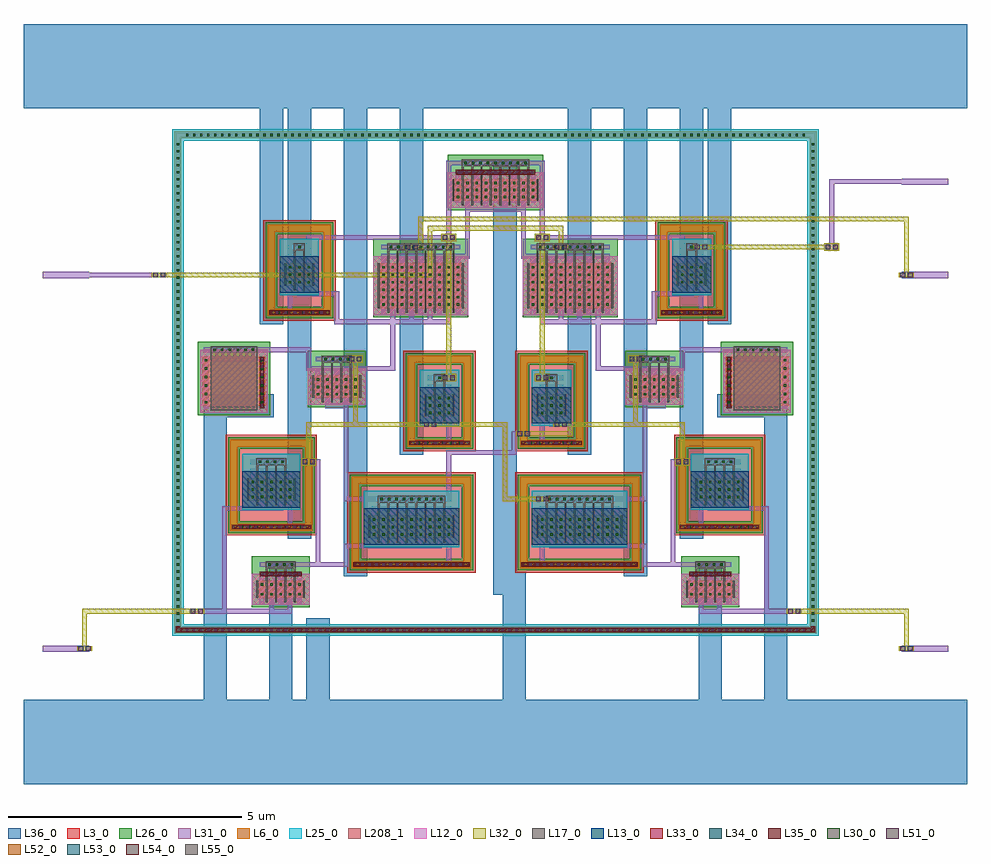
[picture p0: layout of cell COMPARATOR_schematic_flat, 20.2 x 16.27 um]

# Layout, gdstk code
import gdstk
lib = gdstk.Library(unit=1e-6, precision=1e-09)
def R(c, l, rs):  # rectangles x0, y0, x1, y1
    for r in rs: c.add(gdstk.rectangle(r[:2], r[2:], *l))
def A(c, l, x, y, w, h, nx, ny, dx, dy):  # array of equal rectangles
    R(c, l, [(x+i*dx, y+j*dy, x+i*dx+w, y+j*dy+h) for i in range(nx) for j in range(ny)])
L3_0 = (3, 0)
L6_0 = (6, 0)
L12_0 = (12, 0)
L13_0 = (13, 0)
L17_0 = (17, 0)
L25_0 = (25, 0)
L26_0 = (26, 0)
L30_0 = (30, 0)
L31_0 = (31, 0)
L32_0 = (32, 0)
L33_0 = (33, 0)
L34_0 = (34, 0)
L35_0 = (35, 0)
L36_0 = (36, 0)
L51_0 = (51, 0)
L52_0 = (52, 0)
L53_0 = (53, 0)
L54_0 = (54, 0)
L55_0 = (55, 0)
L208_1 = (208, 1)

comparator_schematic_fla = lib.new_cell('COMPARATOR_schematic_flat')
R(comparator_schematic_fla, L3_0, [(6.025,1.625,8.775,3.775), (9.625,1.625,12.375,3.775), (6.38,2.22,8.42,3), (9.98,2.22,12.02,3), (3.425,2.425,5.375,4.575), (13.025,2.425,14.975,4.575), (3.78,3.02,5.02,3.8), (13.38,3.02,14.62,3.8), (7.225,4.225,8.775,6.375), (9.625,4.225,11.175,6.375), (7.58,4.82,8.42,5.6), (9.98,4.82,10.82,5.6), (4.225,7.025,5.775,9.175), (12.625,7.025,14.175,9.175), (4.58,7.62,5.42,8.4), (12.98,7.62,13.82,8.4)])
A(comparator_schematic_fla, L6_0, 7.325, 4.325, 0.15, 0.15, 4, 2, 1.2, 1.8)
A(comparator_schematic_fla, L6_0, 7.325, 4.475, 0.15, 1.65, 4, 1, 1.2, 0)
R(comparator_schematic_fla, L6_0, [(2.325,0.325,2.475,0.475), (2.475,0.325,15.925,0.475), (15.925,0.325,16.075,0.475), (2.325,0.475,2.475,10.925), (15.925,0.475,16.075,10.925), (4.125,1.09,5.075,1.45), (13.325,1.09,14.275,1.45), (6.125,1.725,6.275,1.875), (6.275,1.725,8.525,1.875), (8.525,1.725,8.675,1.875), (9.725,1.725,9.875,1.875), (9.875,1.725,12.125,1.875), (12.125,1.725,12.275,1.875), (6.125,1.875,6.275,3.525), (8.525,1.875,8.675,3.525), (9.725,1.875,9.875,3.525), (12.125,1.875,12.275,3.525), (6.525,2.37,8.275,2.85), (10.125,2.37,11.875,2.85), (3.525,2.525,3.675,2.675), (3.675,2.525,5.125,2.675), (5.125,2.525,5.275,2.675), (13.125,2.525,13.275,2.675), (13.275,2.525,14.725,2.675), (14.725,2.525,14.875,2.675), (3.525,2.675,3.675,4.325), (5.125,2.675,5.275,4.325), (13.125,2.675,13.275,4.325), (14.725,2.675,14.875,4.325), (3.925,3.17,4.875,3.65), (13.525,3.17,14.475,3.65), (6.125,3.525,6.275,3.675), (6.275,3.525,8.525,3.675), (8.525,3.525,8.675,3.675), (9.725,3.525,9.875,3.675), (9.875,3.525,12.125,3.675), (12.125,3.525,12.275,3.675), (3.525,4.325,3.675,4.475), (3.675,4.325,5.125,4.475), (5.125,4.325,5.275,4.475), (7.475,4.325,8.525,4.475), (9.875,4.325,10.925,4.475), (13.125,4.325,13.275,4.475), (13.275,4.325,14.725,4.475), (14.725,4.325,14.875,4.475), (7.725,4.97,8.275,5.45), (10.125,4.97,10.675,5.45), (2.925,5.2,4.275,6.25), (14.125,5.2,15.475,6.25), (5.325,5.37,6.275,5.85), (12.125,5.37,13.075,5.85), (7.475,6.125,8.525,6.275), (9.875,6.125,10.925,6.275), (4.325,7.125,4.475,7.275), (4.475,7.125,5.525,7.275), (5.525,7.125,5.675,7.275), (12.725,7.125,12.875,7.275), (12.875,7.125,13.925,7.275), (13.925,7.125,14.075,7.275), (4.325,7.275,4.475,8.925), (5.525,7.275,5.675,8.925), (12.725,7.275,12.875,8.925), (13.925,7.275,14.075,8.925), (6.725,7.29,8.475,8.25), (9.925,7.29,11.675,8.25), (4.725,7.77,5.275,8.25), (13.125,7.77,13.675,8.25), (4.325,8.925,4.475,9.075), (4.475,8.925,5.525,9.075), (5.525,8.925,5.675,9.075), (12.725,8.925,12.875,9.075), (12.875,8.925,13.925,9.075), (13.925,8.925,14.075,9.075), (8.325,9.59,10.075,10.05), (2.325,10.925,2.475,11.075), (2.475,10.925,15.925,11.075), (15.925,10.925,16.075,11.075)])
R(comparator_schematic_fla, L12_0, [(3.98,0.94,5.22,1.6), (13.18,0.94,14.42,1.6), (2.875,5.05,4.325,6.4), (14.075,5.05,15.525,6.4), (5.18,5.22,6.42,6), (11.98,5.22,13.22,6), (6.58,7.14,8.62,8.4), (9.78,7.14,11.82,8.4), (8.18,9.44,10.22,10.2)])
R(comparator_schematic_fla, L13_0, [(6.38,2.22,8.42,3), (9.98,2.22,12.02,3), (3.78,3.02,5.02,3.8), (13.38,3.02,14.62,3.8), (7.58,4.82,8.42,5.6), (9.98,4.82,10.82,5.6), (4.58,7.62,5.42,8.4), (12.98,7.62,13.82,8.4)])
A(comparator_schematic_fla, L17_0, 4.28, 0.99, 0.04, 0.56, 4, 1, 0.2, 0)
A(comparator_schematic_fla, L17_0, 13.48, 0.99, 0.04, 0.56, 4, 1, 0.2, 0)
A(comparator_schematic_fla, L17_0, 4.28, 1.45, 0.04, 0.3, 4, 1, 0.2, 0)
A(comparator_schematic_fla, L17_0, 13.48, 1.45, 0.04, 0.3, 4, 1, 0.2, 0)
A(comparator_schematic_fla, L17_0, 6.68, 2.27, 0.04, 0.68, 8, 1, 0.2, 0)
A(comparator_schematic_fla, L17_0, 10.28, 2.27, 0.04, 0.68, 8, 1, 0.2, 0)
A(comparator_schematic_fla, L17_0, 6.48, 2.37, 0.04, 0.48, 4, 1, 1.8, 0)
A(comparator_schematic_fla, L17_0, 6.68, 2.85, 0.04, 0.3, 8, 1, 0.2, 0)
A(comparator_schematic_fla, L17_0, 10.28, 2.85, 0.04, 0.3, 8, 1, 0.2, 0)
A(comparator_schematic_fla, L17_0, 4.08, 3.07, 0.04, 0.68, 4, 1, 0.2, 0)
A(comparator_schematic_fla, L17_0, 13.68, 3.07, 0.04, 0.68, 4, 1, 0.2, 0)
A(comparator_schematic_fla, L17_0, 4.08, 3.65, 0.04, 0.3, 4, 1, 0.2, 0)
A(comparator_schematic_fla, L17_0, 13.68, 3.65, 0.04, 0.3, 4, 1, 0.2, 0)
A(comparator_schematic_fla, L17_0, 5.48, 5.27, 0.04, 0.68, 4, 1, 0.2, 0)
A(comparator_schematic_fla, L17_0, 12.28, 5.27, 0.04, 0.68, 4, 1, 0.2, 0)
A(comparator_schematic_fla, L17_0, 5.48, 5.85, 0.04, 0.3, 4, 1, 0.2, 0)
A(comparator_schematic_fla, L17_0, 12.28, 5.85, 0.04, 0.3, 4, 1, 0.2, 0)
A(comparator_schematic_fla, L17_0, 6.88, 7.19, 0.04, 1.16, 8, 1, 0.2, 0)
A(comparator_schematic_fla, L17_0, 10.08, 7.19, 0.04, 1.16, 8, 1, 0.2, 0)
A(comparator_schematic_fla, L17_0, 6.88, 8.25, 0.04, 0.3, 8, 1, 0.2, 0)
A(comparator_schematic_fla, L17_0, 10.08, 8.25, 0.04, 0.3, 8, 1, 0.2, 0)
A(comparator_schematic_fla, L17_0, 8.48, 9.49, 0.04, 0.66, 8, 1, 0.2, 0)
A(comparator_schematic_fla, L17_0, 8.48, 10.05, 0.04, 0.3, 8, 1, 0.2, 0)
R(comparator_schematic_fla, L17_0, [(4.08,1.09,4.12,1.45), (5.08,1.09,5.12,1.45), (13.28,1.09,13.32,1.45), (14.28,1.09,14.32,1.45), (4.28,1.725,4.92,1.875), (13.48,1.725,14.12,1.875), (6.68,3.125,8.12,3.275), (10.28,3.125,11.72,3.275), (3.88,3.17,3.92,3.65), (4.88,3.17,4.92,3.65), (13.48,3.17,13.52,3.65), (14.48,3.17,14.52,3.65), (4.08,3.925,4.72,4.075), (13.68,3.925,14.32,4.075), (7.88,4.87,7.92,5.55), (8.08,4.87,8.12,5.55), (10.28,4.87,10.32,5.55), (10.48,4.87,10.52,5.55), (7.68,4.97,7.72,5.45), (8.28,4.97,8.32,5.45), (10.08,4.97,10.12,5.45), (10.68,4.97,10.72,5.45), (3.1,5.1,4.1,6.35), (14.3,5.1,15.3,6.35), (5.28,5.37,5.32,5.85), (6.28,5.37,6.32,5.85), (12.08,5.37,12.12,5.85), (13.08,5.37,13.12,5.85), (7.88,5.45,7.92,5.75), (8.08,5.45,8.12,5.75), (10.28,5.45,10.32,5.75), (10.48,5.45,10.52,5.75), (7.88,5.725,8.12,5.875), (10.28,5.725,10.52,5.875), (5.48,6.125,6.12,6.275), (12.28,6.125,12.92,6.275), (3.1,6.25,4.1,6.475), (14.3,6.25,15.3,6.475), (6.68,7.29,6.72,8.25), (8.48,7.29,8.52,8.25), (9.88,7.29,9.92,8.25), (11.68,7.29,11.72,8.25), (4.88,7.67,4.92,8.35), (5.08,7.67,5.12,8.35), (13.28,7.67,13.32,8.35), (13.48,7.67,13.52,8.35), (4.68,7.77,4.72,8.25), (5.28,7.77,5.32,8.25), (13.08,7.77,13.12,8.25), (13.68,7.77,13.72,8.25), (4.88,8.25,4.92,8.55), (5.08,8.25,5.12,8.55), (13.28,8.25,13.32,8.55), (13.48,8.25,13.52,8.55), (4.88,8.525,5.12,8.675), (6.88,8.525,8.32,8.675), (10.08,8.525,11.52,8.675), (13.28,8.525,13.52,8.675), (8.28,9.59,8.32,10.05), (10.08,9.59,10.12,10.05), (8.48,10.325,9.92,10.475)])
R(comparator_schematic_fla, L25_0, [(2.275,0.275,2.525,0.525), (2.475,0.275,15.925,0.525), (15.875,0.275,16.125,0.525), (2.275,0.475,2.525,10.925), (15.875,0.475,16.125,10.925), (6.38,2.17,8.42,3.375), (9.98,2.17,12.02,3.375), (3.78,2.97,5.02,4.175), (13.38,2.97,14.62,4.175), (7.58,4.77,8.42,5.975), (9.98,4.77,10.82,5.975), (4.58,7.57,5.42,8.775), (12.98,7.57,13.82,8.775), (2.275,10.875,2.525,11.125), (2.475,10.875,15.925,11.125), (15.875,10.875,16.125,11.125)])
A(comparator_schematic_fla, L26_0, 7.275, 4.275, 0.25, 0.25, 4, 2, 1.2, 1.8)
A(comparator_schematic_fla, L26_0, 7.275, 4.475, 0.25, 1.65, 4, 1, 1.2, 0)
R(comparator_schematic_fla, L26_0, [(3.98,0.89,5.22,1.975), (13.18,0.89,14.42,1.975), (6.075,1.675,6.325,1.925), (6.275,1.675,8.525,1.925), (8.475,1.675,8.725,1.925), (9.675,1.675,9.925,1.925), (9.875,1.675,12.125,1.925), (12.075,1.675,12.325,1.925), (6.075,1.875,6.325,3.525), (8.475,1.875,8.725,3.525), (9.675,1.875,9.925,3.525), (12.075,1.875,12.325,3.525), (3.475,2.475,3.725,2.725), (3.675,2.475,5.125,2.725), (5.075,2.475,5.325,2.725), (13.075,2.475,13.325,2.725), (13.275,2.475,14.725,2.725), (14.675,2.475,14.925,2.725), (3.475,2.675,3.725,4.325), (5.075,2.675,5.325,4.325), (13.075,2.675,13.325,4.325), (14.675,2.675,14.925,4.325), (6.075,3.475,6.325,3.725), (6.275,3.475,8.525,3.725), (8.475,3.475,8.725,3.725), (9.675,3.475,9.925,3.725), (9.875,3.475,12.125,3.725), (12.075,3.475,12.325,3.725), (3.475,4.275,3.725,4.525), (3.675,4.275,5.125,4.525), (5.075,4.275,5.325,4.525), (7.475,4.275,8.525,4.525), (9.875,4.275,10.925,4.525), (13.075,4.275,13.325,4.525), (13.275,4.275,14.725,4.525), (14.675,4.275,14.925,4.525), (2.825,5,4.375,6.575), (14.025,5,15.575,6.575), (5.18,5.17,6.42,6.375), (11.98,5.17,13.22,6.375), (7.475,6.075,8.525,6.325), (9.875,6.075,10.925,6.325), (4.275,7.075,4.525,7.325), (4.475,7.075,5.525,7.325), (5.475,7.075,5.725,7.325), (12.675,7.075,12.925,7.325), (12.875,7.075,13.925,7.325), (13.875,7.075,14.125,7.325), (6.58,7.09,8.62,8.775), (9.78,7.09,11.82,8.775), (4.275,7.275,4.525,8.925), (5.475,7.275,5.725,8.925), (12.675,7.275,12.925,8.925), (13.875,7.275,14.125,8.925), (4.275,8.875,4.525,9.125), (4.475,8.875,5.525,9.125), (5.475,8.875,5.725,9.125), (12.675,8.875,12.925,9.125), (12.875,8.875,13.925,9.125), (13.875,8.875,14.125,9.125), (8.18,9.39,10.22,10.575)])
A(comparator_schematic_fla, L30_0, 2.575, 0.375, 0.05, 0.05, 89, 2, 0.15, 10.6)
A(comparator_schematic_fla, L30_0, 2.375, 0.575, 0.05, 0.05, 1, 69, 0, 0.15)
A(comparator_schematic_fla, L30_0, 15.975, 0.575, 0.05, 0.05, 1, 69, 0, 0.15)
A(comparator_schematic_fla, L30_0, 4.175, 1.14, 0.05, 0.05, 5, 2, 0.2, 0.21)
A(comparator_schematic_fla, L30_0, 13.375, 1.14, 0.05, 0.05, 5, 2, 0.2, 0.21)
A(comparator_schematic_fla, L30_0, 4.335, 1.775, 0.05, 0.05, 4, 1, 0.16, 0)
A(comparator_schematic_fla, L30_0, 6.325, 1.775, 0.05, 0.05, 15, 1, 0.15, 0)
A(comparator_schematic_fla, L30_0, 9.925, 1.775, 0.05, 0.05, 15, 1, 0.15, 0)
A(comparator_schematic_fla, L30_0, 13.535, 1.775, 0.05, 0.05, 4, 1, 0.16, 0)
A(comparator_schematic_fla, L30_0, 6.575, 2.42, 0.05, 0.05, 9, 3, 0.2, 0.16)
A(comparator_schematic_fla, L30_0, 10.175, 2.42, 0.05, 0.05, 9, 3, 0.2, 0.16)
A(comparator_schematic_fla, L30_0, 3.735, 2.575, 0.05, 0.05, 9, 1, 0.16, 0)
A(comparator_schematic_fla, L30_0, 13.335, 2.575, 0.05, 0.05, 9, 1, 0.16, 0)
A(comparator_schematic_fla, L30_0, 6.735, 3.175, 0.05, 0.05, 9, 1, 0.16, 0)
A(comparator_schematic_fla, L30_0, 10.335, 3.175, 0.05, 0.05, 9, 1, 0.16, 0)
A(comparator_schematic_fla, L30_0, 3.975, 3.22, 0.05, 0.05, 5, 3, 0.2, 0.16)
A(comparator_schematic_fla, L30_0, 13.575, 3.22, 0.05, 0.05, 5, 3, 0.2, 0.16)
A(comparator_schematic_fla, L30_0, 4.135, 3.975, 0.05, 0.05, 4, 1, 0.16, 0)
A(comparator_schematic_fla, L30_0, 13.735, 3.975, 0.05, 0.05, 4, 1, 0.16, 0)
A(comparator_schematic_fla, L30_0, 7.525, 4.375, 0.05, 0.05, 6, 1, 0.18, 0)
A(comparator_schematic_fla, L30_0, 9.925, 4.375, 0.05, 0.05, 6, 1, 0.18, 0)
A(comparator_schematic_fla, L30_0, 7.775, 5.02, 0.05, 0.05, 3, 3, 0.2, 0.16)
A(comparator_schematic_fla, L30_0, 10.175, 5.02, 0.05, 0.05, 3, 3, 0.2, 0.16)
A(comparator_schematic_fla, L30_0, 2.975, 5.25, 0.05, 0.05, 1, 6, 0, 0.18)
A(comparator_schematic_fla, L30_0, 4.175, 5.25, 0.05, 0.05, 1, 6, 0, 0.18)
A(comparator_schematic_fla, L30_0, 14.175, 5.25, 0.05, 0.05, 1, 6, 0, 0.18)
A(comparator_schematic_fla, L30_0, 15.375, 5.25, 0.05, 0.05, 1, 6, 0, 0.18)
A(comparator_schematic_fla, L30_0, 5.375, 5.42, 0.05, 0.05, 5, 3, 0.2, 0.16)
A(comparator_schematic_fla, L30_0, 12.175, 5.42, 0.05, 0.05, 5, 3, 0.2, 0.16)
A(comparator_schematic_fla, L30_0, 5.535, 6.175, 0.05, 0.05, 4, 1, 0.16, 0)
A(comparator_schematic_fla, L30_0, 12.335, 6.175, 0.05, 0.05, 4, 1, 0.16, 0)
A(comparator_schematic_fla, L30_0, 3.16, 6.375, 0.05, 0.05, 6, 1, 0.165, 0)
A(comparator_schematic_fla, L30_0, 14.365, 6.375, 0.05, 0.05, 6, 1, 0.165, 0)
A(comparator_schematic_fla, L30_0, 4.525, 7.175, 0.05, 0.05, 6, 1, 0.18, 0)
A(comparator_schematic_fla, L30_0, 12.925, 7.175, 0.05, 0.05, 6, 1, 0.18, 0)
A(comparator_schematic_fla, L30_0, 6.775, 7.34, 0.05, 0.05, 9, 6, 0.2, 0.16)
A(comparator_schematic_fla, L30_0, 9.975, 7.34, 0.05, 0.05, 9, 6, 0.2, 0.16)
A(comparator_schematic_fla, L30_0, 4.775, 7.82, 0.05, 0.05, 3, 3, 0.2, 0.16)
A(comparator_schematic_fla, L30_0, 13.175, 7.82, 0.05, 0.05, 3, 3, 0.2, 0.16)
A(comparator_schematic_fla, L30_0, 6.935, 8.575, 0.05, 0.05, 9, 1, 0.16, 0)
A(comparator_schematic_fla, L30_0, 10.135, 8.575, 0.05, 0.05, 9, 1, 0.16, 0)
A(comparator_schematic_fla, L30_0, 8.375, 9.645, 0.05, 0.05, 9, 3, 0.2, 0.15)
A(comparator_schematic_fla, L30_0, 8.535, 10.375, 0.05, 0.05, 9, 1, 0.16, 0)
R(comparator_schematic_fla, L30_0, [(7.975,5.775,8.025,5.825), (10.375,5.775,10.425,5.825), (4.975,8.575,5.025,8.625), (13.375,8.575,13.425,8.625)])
A(comparator_schematic_fla, L31_0, 4.15, 0.95, 0.1, 0.5, 5, 1, 0.2, 0)
A(comparator_schematic_fla, L31_0, 13.35, 0.95, 0.1, 0.5, 5, 1, 0.2, 0)
A(comparator_schematic_fla, L31_0, 4.15, 1.09, 0.1, 0.36, 5, 1, 0.2, 0)
A(comparator_schematic_fla, L31_0, 13.35, 1.09, 0.1, 0.36, 5, 1, 0.2, 0)
A(comparator_schematic_fla, L31_0, 4.15, 1.45, 0.1, 0.1, 3, 1, 0.4, 0)
A(comparator_schematic_fla, L31_0, 13.35, 1.45, 0.1, 0.1, 3, 1, 0.4, 0)
A(comparator_schematic_fla, L31_0, 6.75, 2.25, 0.1, 0.1, 4, 1, 0.4, 0)
A(comparator_schematic_fla, L31_0, 10.35, 2.25, 0.1, 0.1, 4, 1, 0.4, 0)
A(comparator_schematic_fla, L31_0, 6.55, 2.35, 0.1, 0.5, 9, 1, 0.2, 0)
A(comparator_schematic_fla, L31_0, 10.15, 2.35, 0.1, 0.5, 9, 1, 0.2, 0)
A(comparator_schematic_fla, L31_0, 6.55, 2.37, 0.1, 0.48, 9, 1, 0.2, 0)
A(comparator_schematic_fla, L31_0, 10.15, 2.37, 0.1, 0.48, 9, 1, 0.2, 0)
A(comparator_schematic_fla, L31_0, 6.55, 2.85, 0.1, 0.1, 5, 1, 0.4, 0)
A(comparator_schematic_fla, L31_0, 10.15, 2.85, 0.1, 0.1, 5, 1, 0.4, 0)
A(comparator_schematic_fla, L31_0, 3.95, 3.15, 0.1, 0.5, 5, 1, 0.2, 0)
A(comparator_schematic_fla, L31_0, 13.55, 3.15, 0.1, 0.5, 5, 1, 0.2, 0)
A(comparator_schematic_fla, L31_0, 3.95, 3.17, 0.1, 0.48, 5, 1, 0.2, 0)
A(comparator_schematic_fla, L31_0, 13.55, 3.17, 0.1, 0.48, 5, 1, 0.2, 0)
A(comparator_schematic_fla, L31_0, 3.95, 3.65, 0.1, 0.1, 3, 1, 0.4, 0)
A(comparator_schematic_fla, L31_0, 13.55, 3.65, 0.1, 0.1, 3, 1, 0.4, 0)
A(comparator_schematic_fla, L31_0, 7.35, 4.35, 0.1, 0.1, 4, 1, 1.2, 0)
A(comparator_schematic_fla, L31_0, 7.75, 4.95, 0.1, 0.5, 3, 1, 0.2, 0)
A(comparator_schematic_fla, L31_0, 10.15, 4.95, 0.1, 0.5, 3, 1, 0.2, 0)
A(comparator_schematic_fla, L31_0, 7.75, 4.97, 0.1, 0.48, 3, 1, 0.2, 0)
A(comparator_schematic_fla, L31_0, 10.15, 4.97, 0.1, 0.48, 3, 1, 0.2, 0)
A(comparator_schematic_fla, L31_0, 5.35, 5.35, 0.1, 0.5, 5, 1, 0.2, 0)
A(comparator_schematic_fla, L31_0, 12.15, 5.35, 0.1, 0.5, 5, 1, 0.2, 0)
A(comparator_schematic_fla, L31_0, 5.35, 5.37, 0.1, 0.48, 5, 1, 0.2, 0)
A(comparator_schematic_fla, L31_0, 12.15, 5.37, 0.1, 0.48, 5, 1, 0.2, 0)
A(comparator_schematic_fla, L31_0, 5.35, 5.85, 0.1, 0.1, 3, 1, 0.4, 0)
A(comparator_schematic_fla, L31_0, 12.15, 5.85, 0.1, 0.1, 3, 1, 0.4, 0)
A(comparator_schematic_fla, L31_0, 6.95, 7.05, 0.1, 0.1, 4, 1, 0.4, 0)
A(comparator_schematic_fla, L31_0, 10.15, 7.05, 0.1, 0.1, 4, 1, 0.4, 0)
A(comparator_schematic_fla, L31_0, 6.75, 7.15, 0.1, 1.1, 9, 1, 0.2, 0)
A(comparator_schematic_fla, L31_0, 9.95, 7.15, 0.1, 1.1, 9, 1, 0.2, 0)
A(comparator_schematic_fla, L31_0, 6.75, 7.29, 0.1, 0.96, 9, 1, 0.2, 0)
A(comparator_schematic_fla, L31_0, 9.95, 7.29, 0.1, 0.96, 9, 1, 0.2, 0)
A(comparator_schematic_fla, L31_0, 4.75, 7.75, 0.1, 0.5, 3, 1, 0.2, 0)
A(comparator_schematic_fla, L31_0, 13.15, 7.75, 0.1, 0.5, 3, 1, 0.2, 0)
A(comparator_schematic_fla, L31_0, 4.75, 7.77, 0.1, 0.48, 3, 1, 0.2, 0)
A(comparator_schematic_fla, L31_0, 13.15, 7.77, 0.1, 0.48, 3, 1, 0.2, 0)
A(comparator_schematic_fla, L31_0, 6.75, 8.25, 0.1, 0.1, 5, 1, 0.4, 0)
A(comparator_schematic_fla, L31_0, 9.95, 8.25, 0.1, 0.1, 5, 1, 0.4, 0)
A(comparator_schematic_fla, L31_0, 8.55, 9.45, 0.1, 0.1, 4, 1, 0.4, 0)
A(comparator_schematic_fla, L31_0, 8.35, 9.55, 0.1, 0.5, 9, 1, 0.2, 0)
A(comparator_schematic_fla, L31_0, 8.35, 9.59, 0.1, 0.46, 9, 1, 0.2, 0)
A(comparator_schematic_fla, L31_0, 8.35, 10.05, 0.1, 0.1, 5, 1, 0.4, 0)
R(comparator_schematic_fla, L31_0, [(-0.5,-0.065,0.5,0.065), (17.9,-0.065,18.9,0.065), (0.24,-0.05,0.56,0.05), (17.84,-0.05,18.16,0.05), (2.35,0.35,2.45,0.45), (2.45,0.35,2.475,0.45), (2.475,0.35,15.925,0.45), (15.925,0.35,15.95,0.45), (15.95,0.35,16.05,0.45), (2.35,0.45,2.45,0.475), (15.95,0.45,16.05,0.475), (2.35,0.475,2.45,10.925), (15.95,0.475,16.05,10.925), (2.64,0.75,2.96,0.85), (2.75,0.75,3.45,0.85), (3.35,0.75,4.45,0.85), (3.35,0.75,3.45,3.05), (4.35,0.75,4.85,0.85), (13.55,0.75,14.05,0.85), (13.95,0.75,15.05,0.85), (14.95,0.75,15.05,3.05), (14.95,0.75,15.65,0.85), (15.44,0.75,15.76,0.85), (4.35,0.85,4.45,0.95), (4.75,0.85,4.85,0.95), (13.55,0.85,13.65,0.95), (13.95,0.85,14.05,0.95), (4.15,1.55,5.05,1.65), (13.35,1.55,14.25,1.65), (4.15,1.75,5.05,1.85), (4.28,1.75,4.92,1.85), (4.95,1.75,6.05,1.85), (5.35,1.75,5.45,4.05), (5.95,1.75,6.05,2.25), (6.15,1.75,6.25,1.85), (6.25,1.75,6.275,1.85), (6.275,1.75,8.525,1.85), (8.15,1.75,8.25,2.95), (8.525,1.75,8.55,1.85), (8.55,1.75,8.65,1.85), (9.75,1.75,9.85,1.85), (9.85,1.75,9.875,1.85), (9.875,1.75,12.125,1.85), (10.15,1.75,10.25,2.95), (12.125,1.75,12.15,1.85), (12.15,1.75,12.25,1.85), (12.35,1.75,12.45,2.25), (12.35,1.75,13.45,1.85), (12.95,1.75,13.05,4.05), (13.35,1.75,14.25,1.85), (13.48,1.75,14.12,1.85), (5.95,2.15,6.85,2.25), (6.75,2.15,8.05,2.25), (10.35,2.15,11.65,2.25), (11.55,2.15,12.45,2.25), (3.55,2.55,3.65,2.65), (3.65,2.55,3.675,2.65), (3.675,2.55,5.125,2.65), (4.75,2.55,4.85,3.75), (5.125,2.55,5.15,2.65), (5.15,2.55,5.25,2.65), (13.15,2.55,13.25,2.65), (13.25,2.55,13.275,2.65), (13.275,2.55,14.725,2.65), (13.55,2.55,13.65,3.75), (14.725,2.55,14.75,2.65), (14.75,2.55,14.85,2.65), (3.35,2.95,4.25,3.05), (4.15,2.95,4.65,3.05), (6.55,2.95,8.25,3.05), (10.15,2.95,11.85,3.05), (13.75,2.95,14.25,3.05), (14.15,2.95,15.05,3.05), (4.15,3.05,4.25,3.15), (4.55,3.05,4.65,3.15), (13.75,3.05,13.85,3.15), (14.15,3.05,14.25,3.15), (5.95,3.15,6.65,3.25), (5.95,3.15,6.05,5.25), (6.55,3.15,8.25,3.25), (6.68,3.15,8.12,3.25), (8.15,3.15,8.25,4.25), (10.04,3.15,10.36,3.25), (10.15,3.15,11.85,3.25), (10.28,3.15,11.72,3.25), (11.75,3.15,12.45,3.25), (12.35,3.15,12.45,5.25), (3.95,3.75,4.85,3.85), (13.55,3.75,14.45,3.85), (5.04,3.92,5.36,4.08), (13.04,3.92,13.36,4.08), (3.95,3.95,4.85,4.05), (4.08,3.95,4.72,4.05), (4.75,3.95,5.45,4.05), (12.95,3.95,13.65,4.05), (13.55,3.95,14.45,4.05), (13.68,3.95,14.32,4.05), (8.15,4.15,9.65,4.25), (9.55,4.15,9.65,4.65), (7.45,4.35,7.475,4.45), (7.475,4.35,8.525,4.45), (8.15,4.35,8.25,5.55), (8.525,4.35,8.55,4.45), (9.85,4.35,9.875,4.45), (9.875,4.35,10.925,4.45), (10.15,4.35,10.25,5.55), (10.925,4.35,10.95,4.45), (9.55,4.55,9.85,4.65), (9.64,4.55,9.96,4.65), (7.64,4.75,7.96,4.85), (7.75,4.75,8.05,4.85), (7.95,4.75,8.05,5.05), (10.35,4.75,10.65,4.85), (10.35,4.75,10.45,5.05), (10.44,4.75,10.76,4.85), (2.95,5.15,3.05,6.25), (4.15,5.15,4.25,6.25), (5.55,5.15,6.05,5.25), (12.35,5.15,12.85,5.25), (14.15,5.15,14.25,6.25), (15.35,5.15,15.45,6.25), (2.95,5.2,3.05,6.25), (4.15,5.2,4.25,6.25), (14.15,5.2,14.25,6.25), (15.35,5.2,15.45,6.25), (5.55,5.25,5.65,5.35), (5.95,5.25,6.05,5.35), (12.35,5.25,12.45,5.35), (12.75,5.25,12.85,5.35), (7.75,5.45,7.85,5.55), (8.15,5.45,8.25,5.55), (10.15,5.45,10.25,5.55), (10.55,5.45,10.65,5.55), (7.75,5.55,8.25,5.65), (10.15,5.55,10.65,5.65), (8.04,5.72,8.36,5.88), (10.04,5.72,10.36,5.88), (7.75,5.75,8.25,5.85), (7.88,5.75,8.12,5.85), (10.15,5.75,10.65,5.85), (10.28,5.75,10.52,5.85), (5.15,5.95,5.25,6.45), (5.15,5.95,5.45,6.05), (5.35,5.95,6.25,6.05), (6.15,5.95,7.05,6.05), (6.95,5.95,7.05,7.05), (11.35,5.95,11.45,7.05), (11.35,5.95,12.25,6.05), (12.15,5.95,13.05,6.05), (12.95,5.95,13.25,6.05), (13.15,5.95,13.25,6.45), (6.04,6.12,6.36,6.28), (12.04,6.12,12.36,6.28), (2.95,6.15,4.25,6.25), (5.35,6.15,6.25,6.25), (5.48,6.15,6.12,6.25), (12.15,6.15,13.05,6.25), (12.28,6.15,12.92,6.25), (14.15,6.15,15.45,6.25), (2.95,6.35,4.25,6.45), (3.1,6.35,4.1,6.45), (4.15,6.35,5.25,6.45), (13.15,6.35,14.25,6.45), (14.15,6.35,15.45,6.45), (14.3,6.35,15.3,6.45), (5.75,6.95,7.05,7.05), (5.75,6.95,5.85,7.65), (6.95,6.95,8.25,7.05), (10.15,6.95,11.45,7.05), (11.35,6.95,12.65,7.05), (12.55,6.95,12.65,7.65), (4.35,7.15,4.45,7.25), (4.45,7.15,4.475,7.25), (4.475,7.15,5.525,7.25), (4.75,7.15,4.85,8.35), (5.525,7.15,5.55,7.25), (5.55,7.15,5.65,7.25), (12.75,7.15,12.85,7.25), (12.85,7.15,12.875,7.25), (12.875,7.15,13.925,7.25), (13.55,7.15,13.65,8.35), (13.925,7.15,13.95,7.25), (13.95,7.15,14.05,7.25), (4.95,7.55,5.85,7.65), (4.95,7.55,5.05,7.85), (12.55,7.55,13.45,7.65), (13.35,7.55,13.45,7.85), (-0.5,7.935,0.5,8.065), (17.9,7.935,18.9,8.065), (0.35,7.95,2.05,8.05), (1.84,7.95,2.16,8.05), (17.84,7.95,18.16,8.05), (4.75,8.25,4.85,8.35), (5.15,8.25,5.25,8.35), (13.15,8.25,13.25,8.35), (13.55,8.25,13.65,8.35), (4.75,8.35,5.25,8.45), (6.75,8.35,8.45,8.45), (8.35,8.35,8.65,8.45), (8.55,8.35,8.65,9.45), (9.75,8.35,9.85,9.45), (9.75,8.35,10.05,8.45), (9.95,8.35,11.65,8.45), (13.15,8.35,13.65,8.45), (16.24,8.52,16.56,8.68), (4.75,8.55,5.25,8.65), (4.88,8.55,5.12,8.65), (5.15,8.55,5.25,8.85), (6.75,8.55,8.45,8.65), (6.88,8.55,8.32,8.65), (7.24,8.55,7.56,8.65), (9.95,8.55,11.65,8.65), (10.08,8.55,11.52,8.65), (10.44,8.55,10.76,8.65), (13.15,8.55,13.65,8.65), (13.15,8.55,13.25,8.85), (13.28,8.55,13.52,8.65), (13.44,8.55,13.76,8.65), (16.35,8.55,16.45,10.05), (8.04,8.72,8.36,8.88), (10.04,8.72,10.36,8.88), (5.15,8.75,8.25,8.85), (8.15,8.75,8.25,10.45), (10.15,8.75,10.25,10.45), (10.15,8.75,13.25,8.85), (8.55,9.35,9.85,9.45), (17.9,9.935,18.9,10.065), (16.35,9.95,18.05,10.05), (8.35,10.15,10.05,10.25), (8.15,10.35,8.45,10.45), (8.35,10.35,10.05,10.45), (8.48,10.35,9.92,10.45), (9.95,10.35,10.25,10.45), (2.35,10.925,2.45,10.95), (15.95,10.925,16.05,10.95), (2.35,10.95,2.45,11.05), (2.45,10.95,2.475,11.05), (2.475,10.95,15.925,11.05), (15.925,10.95,15.95,11.05), (15.95,10.95,16.05,11.05)])
A(comparator_schematic_fla, L32_0, 7.35, 4.35, 0.1, 0.1, 4, 1, 1.2, 0)
R(comparator_schematic_fla, L32_0, [(0.24,-0.05,0.56,0.05), (0.35,-0.05,0.45,0.85), (17.84,-0.05,18.16,0.05), (17.95,-0.05,18.05,0.85), (2.35,0.35,2.45,0.45), (2.45,0.35,2.475,0.45), (2.475,0.35,15.925,0.45), (15.925,0.35,15.95,0.45), (15.95,0.35,16.05,0.45), (2.35,0.45,2.45,0.475), (15.95,0.45,16.05,0.475), (0.35,0.75,2.85,0.85), (2.64,0.75,2.96,0.85), (15.44,0.75,15.76,0.85), (15.55,0.75,18.05,0.85), (4.15,1.55,5.05,1.65), (13.35,1.55,14.25,1.65), (6.15,1.75,6.25,1.85), (6.25,1.75,6.275,1.85), (6.275,1.75,8.525,1.85), (8.525,1.75,8.55,1.85), (8.55,1.75,8.65,1.85), (9.75,1.75,9.85,1.85), (9.85,1.75,9.875,1.85), (9.875,1.75,12.125,1.85), (12.125,1.75,12.15,1.85), (12.15,1.75,12.25,1.85), (3.55,2.55,3.65,2.65), (3.65,2.55,3.675,2.65), (3.675,2.55,5.125,2.65), (5.125,2.55,5.15,2.65), (5.15,2.55,5.25,2.65), (13.15,2.55,13.25,2.65), (13.25,2.55,13.275,2.65), (13.275,2.55,14.725,2.65), (14.725,2.55,14.75,2.65), (14.75,2.55,14.85,2.65), (9.35,3.15,10.25,3.25), (9.35,3.15,9.45,4.85), (10.04,3.15,10.36,3.25), (5.04,3.92,5.36,4.08), (13.04,3.92,13.36,4.08), (5.15,3.95,5.25,4.85), (13.15,3.95,13.25,4.85), (7.45,4.35,7.475,4.45), (7.475,4.35,8.525,4.45), (8.525,4.35,8.55,4.45), (9.85,4.35,9.875,4.45), (9.875,4.35,10.925,4.45), (10.925,4.35,10.95,4.45), (9.64,4.55,9.96,4.65), (9.75,4.55,10.85,4.65), (10.75,4.55,10.85,4.85), (5.15,4.75,6.25,4.85), (6.15,4.75,7.85,4.85), (6.15,4.75,6.25,6.25), (7.64,4.75,7.96,4.85), (7.75,4.75,9.45,4.85), (10.44,4.75,10.76,4.85), (10.55,4.75,12.25,4.85), (12.15,4.75,12.25,6.25), (12.15,4.75,13.25,4.85), (4.15,5.15,4.25,6.25), (14.15,5.15,14.25,6.25), (8.04,5.72,8.36,5.88), (10.04,5.72,10.36,5.88), (8.15,5.75,8.25,8.85), (10.15,5.75,10.25,8.85), (6.04,6.12,6.36,6.28), (12.04,6.12,12.36,6.28), (4.35,7.15,4.45,7.25), (4.45,7.15,4.475,7.25), (4.475,7.15,5.525,7.25), (5.525,7.15,5.55,7.25), (5.55,7.15,5.65,7.25), (12.75,7.15,12.85,7.25), (12.85,7.15,12.875,7.25), (12.875,7.15,13.925,7.25), (13.925,7.15,13.95,7.25), (13.95,7.15,14.05,7.25), (1.84,7.95,2.16,8.05), (1.95,7.95,7.85,8.05), (7.75,7.95,7.85,9.05), (17.84,7.95,18.16,8.05), (17.95,7.95,18.05,9.25), (16.24,8.52,16.56,8.68), (7.24,8.55,7.56,8.65), (7.35,8.55,7.65,8.65), (7.55,8.55,7.65,9.25), (10.44,8.55,10.76,8.65), (10.55,8.55,10.65,9.05), (13.44,8.55,13.76,8.65), (13.55,8.55,16.45,8.65), (8.04,8.72,8.36,8.88), (10.04,8.72,10.36,8.88), (7.75,8.95,10.65,9.05), (7.55,9.15,18.05,9.25), (8.35,10.15,10.05,10.25)])
A(comparator_schematic_fla, L33_0, 7.35, 4.35, 0.1, 0.1, 4, 1, 1.2, 0)
R(comparator_schematic_fla, L33_0, [(2.35,0.35,2.45,0.45), (2.45,0.35,2.475,0.45), (2.475,0.35,15.925,0.45), (15.925,0.35,15.95,0.45), (15.95,0.35,16.05,0.45), (2.35,0.45,2.45,0.475), (15.95,0.45,16.05,0.475), (4.15,1.55,5.05,1.65), (13.35,1.55,14.25,1.65), (6.15,1.75,6.25,1.85), (6.25,1.75,6.275,1.85), (6.275,1.75,8.525,1.85), (8.525,1.75,8.55,1.85), (8.55,1.75,8.65,1.85), (9.75,1.75,9.85,1.85), (9.85,1.75,9.875,1.85), (9.875,1.75,12.125,1.85), (12.125,1.75,12.15,1.85), (12.15,1.75,12.25,1.85), (3.55,2.55,3.65,2.65), (3.65,2.55,3.675,2.65), (3.675,2.55,5.125,2.65), (5.125,2.55,5.15,2.65), (5.15,2.55,5.25,2.65), (13.15,2.55,13.25,2.65), (13.25,2.55,13.275,2.65), (13.275,2.55,14.725,2.65), (14.725,2.55,14.75,2.65), (14.75,2.55,14.85,2.65), (7.45,4.35,7.475,4.45), (7.475,4.35,8.525,4.45), (8.525,4.35,8.55,4.45), (9.85,4.35,9.875,4.45), (9.875,4.35,10.925,4.45), (10.925,4.35,10.95,4.45), (4.15,5.15,4.25,6.25), (14.15,5.15,14.25,6.25), (4.35,7.15,4.45,7.25), (4.45,7.15,4.475,7.25), (4.475,7.15,5.525,7.25), (5.525,7.15,5.55,7.25), (5.55,7.15,5.65,7.25), (12.75,7.15,12.85,7.25), (12.85,7.15,12.875,7.25), (12.875,7.15,13.925,7.25), (13.925,7.15,13.95,7.25), (13.95,7.15,14.05,7.25), (8.35,10.15,10.05,10.25)])
A(comparator_schematic_fla, L34_0, 7.35, 4.35, 0.1, 0.1, 4, 1, 1.2, 0)
R(comparator_schematic_fla, L34_0, [(2.35,0.35,2.45,0.45), (2.45,0.35,2.475,0.45), (2.475,0.35,15.925,0.45), (15.925,0.35,15.95,0.45), (15.95,0.35,16.05,0.45), (2.35,0.45,2.45,0.475), (15.95,0.45,16.05,0.475), (4.15,1.55,5.05,1.65), (13.35,1.55,14.25,1.65), (6.15,1.75,6.25,1.85), (6.25,1.75,6.275,1.85), (6.275,1.75,8.525,1.85), (8.525,1.75,8.55,1.85), (8.55,1.75,8.65,1.85), (9.75,1.75,9.85,1.85), (9.85,1.75,9.875,1.85), (9.875,1.75,12.125,1.85), (12.125,1.75,12.15,1.85), (12.15,1.75,12.25,1.85), (3.55,2.55,3.65,2.65), (3.65,2.55,3.675,2.65), (3.675,2.55,5.125,2.65), (5.125,2.55,5.15,2.65), (5.15,2.55,5.25,2.65), (13.15,2.55,13.25,2.65), (13.25,2.55,13.275,2.65), (13.275,2.55,14.725,2.65), (14.725,2.55,14.75,2.65), (14.75,2.55,14.85,2.65), (7.45,4.35,7.475,4.45), (7.475,4.35,8.525,4.45), (8.525,4.35,8.55,4.45), (9.85,4.35,9.875,4.45), (9.875,4.35,10.925,4.45), (10.925,4.35,10.95,4.45), (4.15,5.15,4.25,6.25), (14.15,5.15,14.25,6.25), (4.35,7.15,4.45,7.25), (4.45,7.15,4.475,7.25), (4.475,7.15,5.525,7.25), (5.525,7.15,5.55,7.25), (5.55,7.15,5.65,7.25), (12.75,7.15,12.85,7.25), (12.85,7.15,12.875,7.25), (12.875,7.15,13.925,7.25), (13.925,7.15,13.95,7.25), (13.95,7.15,14.05,7.25), (8.35,10.15,10.05,10.25)])
A(comparator_schematic_fla, L35_0, 7.35, 4.35, 0.1, 0.1, 4, 1, 1.2, 0)
R(comparator_schematic_fla, L35_0, [(2.35,0.35,2.45,0.45), (2.45,0.35,2.475,0.45), (2.475,0.35,15.925,0.45), (15.925,0.35,15.95,0.45), (15.95,0.35,16.05,0.45), (2.35,0.45,2.45,0.475), (15.95,0.45,16.05,0.475), (4.15,1.55,5.05,1.65), (13.35,1.55,14.25,1.65), (6.15,1.75,6.25,1.85), (6.25,1.75,6.275,1.85), (6.275,1.75,8.525,1.85), (8.525,1.75,8.55,1.85), (8.55,1.75,8.65,1.85), (9.75,1.75,9.85,1.85), (9.85,1.75,9.875,1.85), (9.875,1.75,12.125,1.85), (12.125,1.75,12.15,1.85), (12.15,1.75,12.25,1.85), (3.55,2.55,3.65,2.65), (3.65,2.55,3.675,2.65), (3.675,2.55,5.125,2.65), (5.125,2.55,5.15,2.65), (5.15,2.55,5.25,2.65), (13.15,2.55,13.25,2.65), (13.25,2.55,13.275,2.65), (13.275,2.55,14.725,2.65), (14.725,2.55,14.75,2.65), (14.75,2.55,14.85,2.65), (7.45,4.35,7.475,4.45), (7.475,4.35,8.525,4.45), (8.525,4.35,8.55,4.45), (9.85,4.35,9.875,4.45), (9.875,4.35,10.925,4.45), (10.925,4.35,10.95,4.45), (4.15,5.15,4.25,6.25), (14.15,5.15,14.25,6.25), (4.35,7.15,4.45,7.25), (4.45,7.15,4.475,7.25), (4.475,7.15,5.525,7.25), (5.525,7.15,5.55,7.25), (5.55,7.15,5.65,7.25), (12.75,7.15,12.85,7.25), (12.85,7.15,12.875,7.25), (12.875,7.15,13.925,7.25), (13.925,7.15,13.95,7.25), (13.95,7.15,14.05,7.25), (8.35,10.15,10.05,10.25)])
A(comparator_schematic_fla, L36_0, 7.35, 4.35, 0.1, 0.1, 4, 1, 1.2, 0)
R(comparator_schematic_fla, L36_0, [(-0.9,-2.9,19.3,-1.1), (2.95,-1.45,3.45,5.45), (4.35,-1.45,4.85,1.85), (5.15,-1.45,5.65,0.65), (9.35,-1.45,9.85,1.65), (13.55,-1.45,14.05,1.85), (14.95,-1.45,15.45,5.45), (2.35,0.35,2.45,0.45), (2.45,0.35,2.475,0.45), (2.475,0.35,15.925,0.45), (15.925,0.35,15.95,0.45), (15.95,0.35,16.05,0.45), (2.35,0.45,2.45,0.475), (15.95,0.45,16.05,0.475), (9.15,1.15,9.65,10.45), (9.15,1.15,9.85,1.65), (4.15,1.55,5.05,1.65), (5.95,1.55,6.45,11.85), (11.95,1.55,12.45,11.85), (13.35,1.55,14.25,1.65), (6.15,1.75,6.25,1.85), (6.25,1.75,6.275,1.85), (6.275,1.75,8.525,1.85), (8.525,1.75,8.55,1.85), (8.55,1.75,8.65,1.85), (9.75,1.75,9.85,1.85), (9.85,1.75,9.875,1.85), (9.875,1.75,12.125,1.85), (12.125,1.75,12.15,1.85), (12.15,1.75,12.25,1.85), (4.75,2.35,5.25,11.85), (13.15,2.35,13.65,11.85), (3.55,2.55,3.65,2.65), (3.65,2.55,3.675,2.65), (3.675,2.55,5.125,2.65), (5.125,2.55,5.15,2.65), (5.15,2.55,5.25,2.65), (13.15,2.55,13.25,2.65), (13.25,2.55,13.275,2.65), (13.275,2.55,14.725,2.65), (14.725,2.55,14.75,2.65), (14.75,2.55,14.85,2.65), (7.15,4.15,7.65,11.85), (10.75,4.15,11.25,11.85), (7.45,4.35,7.475,4.45), (7.475,4.35,8.525,4.45), (8.525,4.35,8.55,4.45), (9.85,4.35,9.875,4.45), (9.875,4.35,10.925,4.45), (10.925,4.35,10.95,4.45), (2.95,4.95,4.45,5.45), (13.95,4.95,15.45,5.45), (4.15,5.15,4.25,6.25), (14.15,5.15,14.25,6.25), (4.15,6.95,4.65,11.85), (13.75,6.95,14.25,11.85), (4.35,7.15,4.45,7.25), (4.45,7.15,4.475,7.25), (4.475,7.15,5.525,7.25), (5.525,7.15,5.55,7.25), (5.55,7.15,5.65,7.25), (12.75,7.15,12.85,7.25), (12.85,7.15,12.875,7.25), (12.875,7.15,13.925,7.25), (13.925,7.15,13.95,7.25), (13.95,7.15,14.05,7.25), (8.35,10.15,10.05,10.25), (-0.9,11.575,19.3,13.375)])
A(comparator_schematic_fla, L51_0, 2.575, 0.375, 0.05, 0.05, 89, 1, 0.15, 0)
A(comparator_schematic_fla, L51_0, 4.175, 1.575, 0.05, 0.05, 5, 1, 0.2, 0)
A(comparator_schematic_fla, L51_0, 13.375, 1.575, 0.05, 0.05, 5, 1, 0.2, 0)
A(comparator_schematic_fla, L51_0, 6.325, 1.775, 0.05, 0.05, 15, 1, 0.15, 0)
A(comparator_schematic_fla, L51_0, 9.925, 1.775, 0.05, 0.05, 15, 1, 0.15, 0)
A(comparator_schematic_fla, L51_0, 3.715, 2.575, 0.05, 0.05, 9, 1, 0.165, 0)
A(comparator_schematic_fla, L51_0, 13.315, 2.575, 0.05, 0.05, 9, 1, 0.165, 0)
A(comparator_schematic_fla, L51_0, 7.5, 4.375, 0.05, 0.05, 6, 1, 0.19, 0)
A(comparator_schematic_fla, L51_0, 9.9, 4.375, 0.05, 0.05, 6, 1, 0.19, 0)
A(comparator_schematic_fla, L51_0, 4.175, 5.185, 0.05, 0.05, 1, 7, 0, 0.165)
A(comparator_schematic_fla, L51_0, 14.175, 5.185, 0.05, 0.05, 1, 7, 0, 0.165)
A(comparator_schematic_fla, L51_0, 4.5, 7.175, 0.05, 0.05, 6, 1, 0.19, 0)
A(comparator_schematic_fla, L51_0, 12.9, 7.175, 0.05, 0.05, 6, 1, 0.19, 0)
A(comparator_schematic_fla, L51_0, 8.4, 10.175, 0.05, 0.05, 11, 1, 0.155, 0)
R(comparator_schematic_fla, L51_0, [(0.27,-0.05,0.37,0.05), (0.43,-0.05,0.53,0.05), (17.87,-0.05,17.97,0.05), (18.03,-0.05,18.13,0.05), (2.67,0.75,2.77,0.85), (2.83,0.75,2.93,0.85), (15.47,0.75,15.57,0.85), (15.63,0.75,15.73,0.85), (10.07,3.15,10.17,3.25), (10.23,3.15,10.33,3.25), (5.07,3.95,5.17,4.05), (5.23,3.95,5.33,4.05), (13.07,3.95,13.17,4.05), (13.23,3.95,13.33,4.05), (9.67,4.55,9.77,4.65), (9.83,4.55,9.93,4.65), (7.67,4.75,7.77,4.85), (7.83,4.75,7.93,4.85), (10.47,4.75,10.57,4.85), (10.63,4.75,10.73,4.85), (8.07,5.75,8.17,5.85), (8.23,5.75,8.33,5.85), (10.07,5.75,10.17,5.85), (10.23,5.75,10.33,5.85), (6.07,6.15,6.17,6.25), (6.23,6.15,6.33,6.25), (12.07,6.15,12.17,6.25), (12.23,6.15,12.33,6.25), (1.87,7.95,1.97,8.05), (2.03,7.95,2.13,8.05), (17.87,7.95,17.97,8.05), (18.03,7.95,18.13,8.05), (7.27,8.55,7.37,8.65), (7.43,8.55,7.53,8.65), (10.47,8.55,10.57,8.65), (10.63,8.55,10.73,8.65), (13.47,8.55,13.57,8.65), (13.63,8.55,13.73,8.65), (16.27,8.55,16.37,8.65), (16.43,8.55,16.53,8.65), (8.07,8.75,8.17,8.85), (8.23,8.75,8.33,8.85), (10.07,8.75,10.17,8.85), (10.23,8.75,10.33,8.85)])
A(comparator_schematic_fla, L52_0, 2.575, 0.375, 0.05, 0.05, 89, 1, 0.15, 0)
A(comparator_schematic_fla, L52_0, 4.175, 1.575, 0.05, 0.05, 5, 1, 0.2, 0)
A(comparator_schematic_fla, L52_0, 13.375, 1.575, 0.05, 0.05, 5, 1, 0.2, 0)
A(comparator_schematic_fla, L52_0, 6.325, 1.775, 0.05, 0.05, 15, 1, 0.15, 0)
A(comparator_schematic_fla, L52_0, 9.925, 1.775, 0.05, 0.05, 15, 1, 0.15, 0)
A(comparator_schematic_fla, L52_0, 3.715, 2.575, 0.05, 0.05, 9, 1, 0.165, 0)
A(comparator_schematic_fla, L52_0, 13.315, 2.575, 0.05, 0.05, 9, 1, 0.165, 0)
A(comparator_schematic_fla, L52_0, 7.5, 4.375, 0.05, 0.05, 6, 1, 0.19, 0)
A(comparator_schematic_fla, L52_0, 9.9, 4.375, 0.05, 0.05, 6, 1, 0.19, 0)
A(comparator_schematic_fla, L52_0, 4.175, 5.185, 0.05, 0.05, 1, 7, 0, 0.165)
A(comparator_schematic_fla, L52_0, 14.175, 5.185, 0.05, 0.05, 1, 7, 0, 0.165)
A(comparator_schematic_fla, L52_0, 4.5, 7.175, 0.05, 0.05, 6, 1, 0.19, 0)
A(comparator_schematic_fla, L52_0, 12.9, 7.175, 0.05, 0.05, 6, 1, 0.19, 0)
A(comparator_schematic_fla, L52_0, 8.4, 10.175, 0.05, 0.05, 11, 1, 0.155, 0)
A(comparator_schematic_fla, L53_0, 2.575, 0.375, 0.05, 0.05, 89, 1, 0.15, 0)
A(comparator_schematic_fla, L53_0, 4.175, 1.575, 0.05, 0.05, 5, 1, 0.2, 0)
A(comparator_schematic_fla, L53_0, 13.375, 1.575, 0.05, 0.05, 5, 1, 0.2, 0)
A(comparator_schematic_fla, L53_0, 6.325, 1.775, 0.05, 0.05, 15, 1, 0.15, 0)
A(comparator_schematic_fla, L53_0, 9.925, 1.775, 0.05, 0.05, 15, 1, 0.15, 0)
A(comparator_schematic_fla, L53_0, 3.715, 2.575, 0.05, 0.05, 9, 1, 0.165, 0)
A(comparator_schematic_fla, L53_0, 13.315, 2.575, 0.05, 0.05, 9, 1, 0.165, 0)
A(comparator_schematic_fla, L53_0, 7.5, 4.375, 0.05, 0.05, 6, 1, 0.19, 0)
A(comparator_schematic_fla, L53_0, 9.9, 4.375, 0.05, 0.05, 6, 1, 0.19, 0)
A(comparator_schematic_fla, L53_0, 4.175, 5.185, 0.05, 0.05, 1, 7, 0, 0.165)
A(comparator_schematic_fla, L53_0, 14.175, 5.185, 0.05, 0.05, 1, 7, 0, 0.165)
A(comparator_schematic_fla, L53_0, 4.5, 7.175, 0.05, 0.05, 6, 1, 0.19, 0)
A(comparator_schematic_fla, L53_0, 12.9, 7.175, 0.05, 0.05, 6, 1, 0.19, 0)
A(comparator_schematic_fla, L53_0, 8.4, 10.175, 0.05, 0.05, 11, 1, 0.155, 0)
A(comparator_schematic_fla, L54_0, 2.575, 0.375, 0.05, 0.05, 89, 1, 0.15, 0)
A(comparator_schematic_fla, L54_0, 4.175, 1.575, 0.05, 0.05, 5, 1, 0.2, 0)
A(comparator_schematic_fla, L54_0, 13.375, 1.575, 0.05, 0.05, 5, 1, 0.2, 0)
A(comparator_schematic_fla, L54_0, 6.325, 1.775, 0.05, 0.05, 15, 1, 0.15, 0)
A(comparator_schematic_fla, L54_0, 9.925, 1.775, 0.05, 0.05, 15, 1, 0.15, 0)
A(comparator_schematic_fla, L54_0, 3.715, 2.575, 0.05, 0.05, 9, 1, 0.165, 0)
A(comparator_schematic_fla, L54_0, 13.315, 2.575, 0.05, 0.05, 9, 1, 0.165, 0)
A(comparator_schematic_fla, L54_0, 7.5, 4.375, 0.05, 0.05, 6, 1, 0.19, 0)
A(comparator_schematic_fla, L54_0, 9.9, 4.375, 0.05, 0.05, 6, 1, 0.19, 0)
A(comparator_schematic_fla, L54_0, 4.175, 5.185, 0.05, 0.05, 1, 7, 0, 0.165)
A(comparator_schematic_fla, L54_0, 14.175, 5.185, 0.05, 0.05, 1, 7, 0, 0.165)
A(comparator_schematic_fla, L54_0, 4.5, 7.175, 0.05, 0.05, 6, 1, 0.19, 0)
A(comparator_schematic_fla, L54_0, 12.9, 7.175, 0.05, 0.05, 6, 1, 0.19, 0)
A(comparator_schematic_fla, L54_0, 8.4, 10.175, 0.05, 0.05, 11, 1, 0.155, 0)
A(comparator_schematic_fla, L55_0, 2.575, 0.375, 0.05, 0.05, 89, 1, 0.15, 0)
A(comparator_schematic_fla, L55_0, 4.175, 1.575, 0.05, 0.05, 5, 1, 0.2, 0)
A(comparator_schematic_fla, L55_0, 13.375, 1.575, 0.05, 0.05, 5, 1, 0.2, 0)
A(comparator_schematic_fla, L55_0, 6.325, 1.775, 0.05, 0.05, 15, 1, 0.15, 0)
A(comparator_schematic_fla, L55_0, 9.925, 1.775, 0.05, 0.05, 15, 1, 0.15, 0)
A(comparator_schematic_fla, L55_0, 3.715, 2.575, 0.05, 0.05, 9, 1, 0.165, 0)
A(comparator_schematic_fla, L55_0, 13.315, 2.575, 0.05, 0.05, 9, 1, 0.165, 0)
A(comparator_schematic_fla, L55_0, 7.5, 4.375, 0.05, 0.05, 6, 1, 0.19, 0)
A(comparator_schematic_fla, L55_0, 9.9, 4.375, 0.05, 0.05, 6, 1, 0.19, 0)
A(comparator_schematic_fla, L55_0, 4.175, 5.185, 0.05, 0.05, 1, 7, 0, 0.165)
A(comparator_schematic_fla, L55_0, 14.175, 5.185, 0.05, 0.05, 1, 7, 0, 0.165)
A(comparator_schematic_fla, L55_0, 4.5, 7.175, 0.05, 0.05, 6, 1, 0.19, 0)
A(comparator_schematic_fla, L55_0, 12.9, 7.175, 0.05, 0.05, 6, 1, 0.19, 0)
A(comparator_schematic_fla, L55_0, 8.4, 10.175, 0.05, 0.05, 11, 1, 0.155, 0)
R(comparator_schematic_fla, L208_1, [(3.98,0.94,5.22,1.6), (13.18,0.94,14.42,1.6), (6.38,2.22,8.42,3), (9.98,2.22,12.02,3), (3.78,3.02,5.02,3.8), (13.38,3.02,14.62,3.8), (7.58,4.82,8.42,5.6), (9.98,4.82,10.82,5.6), (2.875,5.05,4.325,6.4), (14.075,5.05,15.525,6.4), (5.18,5.22,6.42,6), (11.98,5.22,13.22,6), (6.58,7.14,8.62,8.4), (9.78,7.14,11.82,8.4), (4.58,7.62,5.42,8.4), (12.98,7.62,13.82,8.4), (8.18,9.44,10.22,10.2)])

lib.write_gds('COMPARATOR_schematic_flat.gds')
